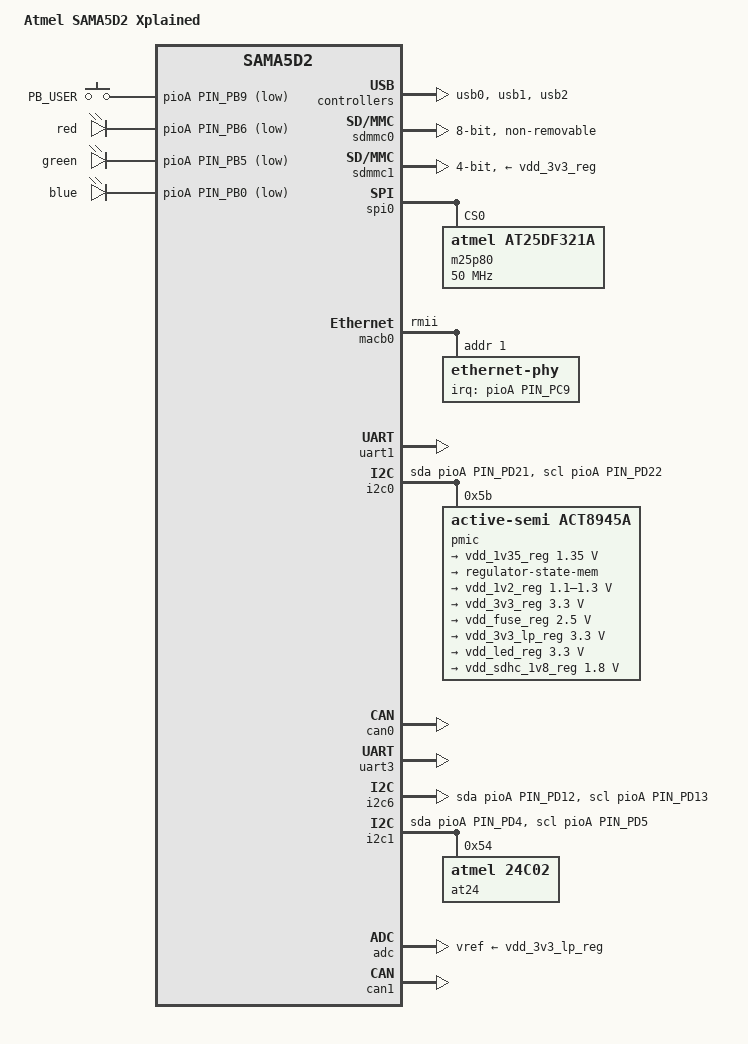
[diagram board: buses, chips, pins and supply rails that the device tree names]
// SPDX-License-Identifier: (GPL-2.0+ OR MIT)
/*
 * at91-sama5d2_xplained.dts - Device Tree file for SAMA5D2 Xplained board
 *
 *  Copyright (C) 2015 Atmel,
 *                2015 Nicolas Ferre <nicolas.ferre@atmel.com>
 */
/dts-v1/;
#include "sama5d2.dtsi"
#include "sama5d2-pinfunc.h"
#include <dt-bindings/mfd/atmel-flexcom.h>
#include <dt-bindings/gpio/gpio.h>
#include <dt-bindings/input/input.h>
#include <dt-bindings/regulator/active-semi,8945a-regulator.h>

/ {
	model = "Atmel SAMA5D2 Xplained";
	compatible = "atmel,sama5d2-xplained", "atmel,sama5d2", "atmel,sama5";

	aliases {
		serial0 = &uart1;	/* DBGU */
		i2c0 = &i2c0;
		i2c1 = &i2c1;
		i2c2 = &i2c2;		/* XPRO EXT2 */
	};

	chosen {
		stdout-path = "serial0:115200n8";
	};

	clocks {
		slow_xtal {
			clock-frequency = <32768>;
		};

		main_xtal {
			clock-frequency = <12000000>;
		};
	};

	ahb {
		usb0: gadget@300000 {
			atmel,vbus-gpio = <&pioA PIN_PA31 GPIO_ACTIVE_HIGH>;
			pinctrl-names = "default";
			pinctrl-0 = <&pinctrl_usba_vbus>;
			status = "okay";
		};

		usb1: ohci@400000 {
			num-ports = <3>;
			atmel,vbus-gpio = <0 /* &pioA PIN_PB9 GPIO_ACTIVE_HIGH */
					   &pioA PIN_PB10 GPIO_ACTIVE_HIGH
					   0
					  >;
			pinctrl-names = "default";
			pinctrl-0 = <&pinctrl_usb_default>;
			status = "okay";
		};

		usb2: ehci@500000 {
			status = "okay";
		};

		sdmmc0: sdio-host@a0000000 {
			bus-width = <8>;
			pinctrl-names = "default";
			pinctrl-0 = <&pinctrl_sdmmc0_default>;
			non-removable;
			mmc-ddr-1_8v;
			status = "okay";
		};

		sdmmc1: sdio-host@b0000000 {
			bus-width = <4>;
			pinctrl-names = "default";
			pinctrl-0 = <&pinctrl_sdmmc1_default>;
			status = "okay"; /* conflict with qspi0 */
			vqmmc-supply = <&vdd_3v3_reg>;
			vmmc-supply = <&vdd_3v3_reg>;
		};

		apb {
			qspi0: spi@f0020000 {
				pinctrl-names = "default";
				pinctrl-0 = <&pinctrl_qspi0_default>;
				status = "disabled"; /* conflict with sdmmc1 */

				flash@0 {
					#address-cells = <1>;
					#size-cells = <1>;
					compatible = "jedec,spi-nor";
					reg = <0>;
					spi-max-frequency = <80000000>;
					spi-tx-bus-width = <4>;
					spi-rx-bus-width = <4>;
					m25p,fast-read;

					at91bootstrap@00000000 {
						label = "at91bootstrap";
						reg = <0x00000000 0x00040000>;
					};

					bootloader@00040000 {
						label = "bootloader";
						reg = <0x00040000 0x000c0000>;
					};

					bootloaderenvred@00100000 {
						label = "bootloader env redundant";
						reg = <0x00100000 0x00040000>;
					};

					bootloaderenv@00140000 {
						label = "bootloader env";
						reg = <0x00140000 0x00040000>;
					};

					dtb@00180000 {
						label = "device tree";
						reg = <0x00180000 0x00080000>;
					};

					kernel@00200000 {
						label = "kernel";
						reg = <0x00200000 0x00600000>;
					};

					misc@00800000 {
						label = "misc";
						reg = <0x00800000 0x00000000>;
					};
				};
			};

			spi0: spi@f8000000 {
				pinctrl-names = "default";
				pinctrl-0 = <&pinctrl_spi0_default>;
				status = "okay";

				m25p80@0 {
					compatible = "atmel,at25df321a";
					reg = <0>;
					spi-max-frequency = <50000000>;
				};
			};

			macb0: ethernet@f8008000 {
				pinctrl-names = "default";
				pinctrl-0 = <&pinctrl_macb0_default &pinctrl_macb0_phy_irq>;
				phy-mode = "rmii";
				status = "okay";

				ethernet-phy@1 {
					reg = <0x1>;
					interrupt-parent = <&pioA>;
					interrupts = <PIN_PC9 IRQ_TYPE_LEVEL_LOW>;
				};
			};

			tcb0: timer@f800c000 {
				timer0: timer@0 {
					compatible = "atmel,tcb-timer";
					reg = <0>;
				};

				timer1: timer@1 {
					compatible = "atmel,tcb-timer";
					reg = <1>;
				};
			};

			uart1: serial@f8020000 {
				pinctrl-names = "default";
				pinctrl-0 = <&pinctrl_uart1_default>;
				atmel,use-dma-rx;
				atmel,use-dma-tx;
				status = "okay";
			};

			i2c0: i2c@f8028000 {
				dmas = <0>, <0>;
				pinctrl-names = "default", "gpio";
				pinctrl-0 = <&pinctrl_i2c0_default>;
				pinctrl-1 = <&pinctrl_i2c0_gpio>;
				sda-gpios = <&pioA PIN_PD21 GPIO_ACTIVE_HIGH>;
				scl-gpios = <&pioA PIN_PD22 (GPIO_ACTIVE_HIGH | GPIO_OPEN_DRAIN)>;
				i2c-sda-hold-time-ns = <350>;
				status = "okay";

				pmic@5b {
					compatible = "active-semi,act8945a";
					reg = <0x5b>;
					active-semi,vsel-high;
					status = "okay";

					regulators {
						vdd_1v35_reg: REG_DCDC1 {
							regulator-name = "VDD_1V35";
							regulator-min-microvolt = <1350000>;
							regulator-max-microvolt = <1350000>;
							regulator-allowed-modes = <ACT8945A_REGULATOR_MODE_FIXED>,
										  <ACT8945A_REGULATOR_MODE_LOWPOWER>;
							regulator-initial-mode = <ACT8945A_REGULATOR_MODE_FIXED>;
							regulator-always-on;

							regulator-state-mem {
								regulator-on-in-suspend;
								regulator-suspend-min-microvolt=<1400000>;
								regulator-suspend-max-microvolt=<1400000>;
								regulator-changeable-in-suspend;
								regulator-mode=<ACT8945A_REGULATOR_MODE_LOWPOWER>;
							};
						};

						vdd_1v2_reg: REG_DCDC2 {
							regulator-name = "VDD_1V2";
							regulator-min-microvolt = <1100000>;
							regulator-max-microvolt = <1300000>;
							regulator-allowed-modes = <ACT8945A_REGULATOR_MODE_FIXED>,
										  <ACT8945A_REGULATOR_MODE_LOWPOWER>;
							regulator-initial-mode = <ACT8945A_REGULATOR_MODE_FIXED>;
							regulator-always-on;

							regulator-state-mem {
								regulator-off-in-suspend;
							};
						};

						vdd_3v3_reg: REG_DCDC3 {
							regulator-name = "VDD_3V3";
							regulator-min-microvolt = <3300000>;
							regulator-max-microvolt = <3300000>;
							regulator-allowed-modes = <ACT8945A_REGULATOR_MODE_FIXED>,
										  <ACT8945A_REGULATOR_MODE_LOWPOWER>;
							regulator-initial-mode = <ACT8945A_REGULATOR_MODE_FIXED>;
							regulator-always-on;

							regulator-state-mem {
								regulator-off-in-suspend;
							};
						};

						vdd_fuse_reg: REG_LDO1 {
							regulator-name = "VDD_FUSE";
							regulator-min-microvolt = <2500000>;
							regulator-max-microvolt = <2500000>;
							regulator-allowed-modes = <ACT8945A_REGULATOR_MODE_NORMAL>,
										  <ACT8945A_REGULATOR_MODE_LOWPOWER>;
							regulator-initial-mode = <ACT8945A_REGULATOR_MODE_NORMAL>;
							regulator-always-on;

							regulator-state-mem {
								regulator-off-in-suspend;
							};
						};

						vdd_3v3_lp_reg: REG_LDO2 {
							regulator-name = "VDD_3V3_LP";
							regulator-min-microvolt = <3300000>;
							regulator-max-microvolt = <3300000>;
							regulator-allowed-modes = <ACT8945A_REGULATOR_MODE_NORMAL>,
										  <ACT8945A_REGULATOR_MODE_LOWPOWER>;
							regulator-initial-mode = <ACT8945A_REGULATOR_MODE_NORMAL>;
							regulator-always-on;

							regulator-state-mem {
								regulator-off-in-suspend;
							};
						};

						vdd_led_reg: REG_LDO3 {
							regulator-name = "VDD_LED";
							regulator-min-microvolt = <3300000>;
							regulator-max-microvolt = <3300000>;
							regulator-allowed-modes = <ACT8945A_REGULATOR_MODE_NORMAL>,
										  <ACT8945A_REGULATOR_MODE_LOWPOWER>;
							regulator-initial-mode = <ACT8945A_REGULATOR_MODE_NORMAL>;
							regulator-always-on;

							regulator-state-mem {
								regulator-off-in-suspend;
							};
						};

						vdd_sdhc_1v8_reg: REG_LDO4 {
							regulator-name = "VDD_SDHC_1V8";
							regulator-min-microvolt = <1800000>;
							regulator-max-microvolt = <1800000>;
							regulator-allowed-modes = <ACT8945A_REGULATOR_MODE_NORMAL>,
										  <ACT8945A_REGULATOR_MODE_LOWPOWER>;
							regulator-initial-mode = <ACT8945A_REGULATOR_MODE_NORMAL>;
							regulator-always-on;

							regulator-state-mem {
								regulator-off-in-suspend;
							};
						};
					};

					charger {
						compatible = "active-semi,act8945a-charger";
						pinctrl-names = "default";
						pinctrl-0 = <&pinctrl_charger_chglev &pinctrl_charger_lbo &pinctrl_charger_irq>;
						interrupt-parent = <&pioA>;
						interrupts = <PIN_PB13 IRQ_TYPE_EDGE_RISING>;

						active-semi,chglev-gpios = <&pioA PIN_PA12 GPIO_ACTIVE_HIGH>;
						active-semi,lbo-gpios = <&pioA PIN_PC8 GPIO_ACTIVE_LOW>;
						active-semi,input-voltage-threshold-microvolt = <6600>;
						active-semi,precondition-timeout = <40>;
						active-semi,total-timeout = <3>;
						status = "okay";
					};
				};
			};

			pwm0: pwm@f802c000 {
				pinctrl-names = "default";
				pinctrl-0 = <&pinctrl_pwm0_pwm2_default>;
				status = "disabled"; /* conflict with leds */
			};

			flx0: flexcom@f8034000 {
				atmel,flexcom-mode = <ATMEL_FLEXCOM_MODE_USART>;
				status = "disabled"; /* conflict with ISC_D2 & ISC_D3 data pins */

				uart5: serial@200 {
					dmas = <0>, <0>;
					pinctrl-names = "default";
					pinctrl-0 = <&pinctrl_flx0_default>;
					status = "okay";
				};

				i2c2: i2c@600 {
					dmas = <0>, <0>;
					pinctrl-names = "default", "gpio";
					pinctrl-0 = <&pinctrl_flx0_default>;
					pinctrl-1 = <&pinctrl_i2c2_gpio>;
					sda-gpios = <&pioA PIN_PB28 GPIO_ACTIVE_HIGH>;
					scl-gpios = <&pioA PIN_PB29 (GPIO_ACTIVE_HIGH | GPIO_OPEN_DRAIN)>;
					i2c-sda-hold-time-ns = <350>;
					i2c-analog-filter;
					i2c-digital-filter;
					i2c-digital-filter-width-ns = <35>;
					status = "disabled"; /* conflict with ISC_D2 & ISC_D3 data pins */
				};
			};

			shdwc@f8048010 {
				atmel,shdwc-debouncer = <976>;
				atmel,wakeup-rtc-timer;

				input@0 {
					reg = <0>;
				};
			};

			watchdog@f8048040 {
				status = "okay";
			};

			i2s0: i2s@f8050000 {
				pinctrl-names = "default";
				pinctrl-0 = <&pinctrl_i2s0_default>;
				status = "disabled"; /* conflict with can0 */
			};

			can0: can@f8054000 {
				pinctrl-names = "default";
				pinctrl-0 = <&pinctrl_can0_default>;
				status = "okay";
			};

			uart3: serial@fc008000 {
				atmel,use-dma-rx;
				atmel,use-dma-tx;
				pinctrl-names = "default";
				pinctrl-0 = <&pinctrl_uart3_default>;
				status = "okay";
			};

			flx4: flexcom@fc018000 {
				atmel,flexcom-mode = <ATMEL_FLEXCOM_MODE_TWI>;
				status = "okay";

				i2c6: i2c@600 {
					dmas = <0>, <0>;
					pinctrl-names = "default", "gpio";
					pinctrl-0 = <&pinctrl_flx4_default>;
					pinctrl-1 = <&pinctrl_flx4_gpio>;
					sda-gpios = <&pioA PIN_PD12 GPIO_ACTIVE_HIGH>;
					scl-gpios = <&pioA PIN_PD13 (GPIO_ACTIVE_HIGH | GPIO_OPEN_DRAIN)>;
					i2c-analog-filter;
					i2c-digital-filter;
					i2c-digital-filter-width-ns = <35>;
					status = "okay";
				};
			};

			i2c1: i2c@fc028000 {
				dmas = <0>, <0>;
				pinctrl-names = "default", "gpio";
				pinctrl-0 = <&pinctrl_i2c1_default>;
				i2c-analog-filter;
				i2c-digital-filter;
				i2c-digital-filter-width-ns = <35>;
				pinctrl-1 = <&pinctrl_i2c1_gpio>;
				sda-gpios = <&pioA PIN_PD4 GPIO_ACTIVE_HIGH>;
				scl-gpios = <&pioA PIN_PD5 (GPIO_ACTIVE_HIGH | GPIO_OPEN_DRAIN)>;
				status = "okay";

				at24@54 {
					compatible = "atmel,24c02";
					reg = <0x54>;
					pagesize = <16>;
				};
			};

			adc: adc@fc030000 {
				vddana-supply = <&vdd_3v3_lp_reg>;
				vref-supply = <&vdd_3v3_lp_reg>;
				pinctrl-names = "default";
				pinctrl-0 = <&pinctrl_adc_default &pinctrl_adtrg_default>;
				status = "okay";
			};

			pinctrl@fc038000 {
				/*
				 * There is no real pinmux for ADC, if the pin
				 * is not requested by another peripheral then
				 * the muxing is done when channel is enabled.
				 * Requesting pins for ADC is GPIO is
				 * encouraged to prevent conflicts and to
				 * disable bias in order to be in the same
				 * state when the pin is not muxed to the adc.
				 */
				pinctrl_adc_default: adc_default {
					pinmux = <PIN_PD23__GPIO>;
					bias-disable;
				};

				pinctrl_can0_default: can0_default {
					pinmux = <PIN_PC10__CANTX0>,
						 <PIN_PC11__CANRX0>;
					bias-disable;
				};

				pinctrl_can1_default: can1_default {
					pinmux = <PIN_PC26__CANTX1>,
						 <PIN_PC27__CANRX1>;
					bias-disable;
				};

				/*
				 * The ADTRG pin can work on any edge type.
				 * In here it's being pulled up, so need to
				 * connect it to ground to get an edge e.g.
				 * Trigger can be configured on falling, rise
				 * or any edge, and the pull-up can be changed
				 * to pull-down or left floating according to
				 * needs.
				 */
				pinctrl_adtrg_default: adtrg_default {
					pinmux = <PIN_PD31__ADTRG>;
					bias-pull-up;
				};

				pinctrl_charger_chglev: charger_chglev {
					pinmux = <PIN_PA12__GPIO>;
					bias-disable;
				};

				pinctrl_charger_irq: charger_irq {
					pinmux = <PIN_PB13__GPIO>;
					bias-disable;
				};

				pinctrl_charger_lbo: charger_lbo {
					pinmux = <PIN_PC8__GPIO>;
					bias-pull-up;
				};

				pinctrl_classd_default_pfets: classd_default_pfets {
					pinmux = <PIN_PB1__CLASSD_R0>,
						 <PIN_PB3__CLASSD_R2>;
					bias-pull-up;
				};

				pinctrl_classd_default_nfets: classd_default_nfets {
					pinmux = <PIN_PB2__CLASSD_R1>,
						 <PIN_PB4__CLASSD_R3>;
					bias-pull-down;
				};

				pinctrl_flx0_default: flx0_default {
					pinmux = <PIN_PB28__FLEXCOM0_IO0>,
						 <PIN_PB29__FLEXCOM0_IO1>;
					bias-disable;
				};

				pinctrl_flx4_default: flx4_default {
					pinmux = <PIN_PD12__FLEXCOM4_IO0>,
						 <PIN_PD13__FLEXCOM4_IO1>;
					bias-disable;
				};

				pinctrl_flx4_gpio: flx4_gpio {
					pinmux = <PIN_PD12__GPIO>,
						 <PIN_PD13__GPIO>;
					bias-disable;
				};

				pinctrl_i2c0_default: i2c0_default {
					pinmux = <PIN_PD21__TWD0>,
						 <PIN_PD22__TWCK0>;
					bias-disable;
				};

				pinctrl_i2c0_gpio: i2c0_gpio {
					pinmux = <PIN_PD21__GPIO>,
						 <PIN_PD22__GPIO>;
					bias-disable;
				};

				pinctrl_i2c1_default: i2c1_default {
					pinmux = <PIN_PD4__TWD1>,
						 <PIN_PD5__TWCK1>;
					bias-disable;
				};

				pinctrl_i2c1_gpio: i2c1_gpio {
					pinmux = <PIN_PD4__GPIO>,
						 <PIN_PD5__GPIO>;
					bias-disable;
				};

				pinctrl_i2c2_gpio: i2c2_gpio {
					pinmux = <PIN_PB28__GPIO>,
						 <PIN_PB29__GPIO>;
					bias-disable;
				};

				pinctrl_i2s0_default: i2s0_default {
					pinmux = <PIN_PC1__I2SC0_CK>,
						 <PIN_PC2__I2SC0_MCK>,
						 <PIN_PC3__I2SC0_WS>,
						 <PIN_PC4__I2SC0_DI0>,
						 <PIN_PC5__I2SC0_DO0>;
					bias-disable;
				};

				pinctrl_i2s1_default: i2s1_default {
					pinmux = <PIN_PA15__I2SC1_CK>,
						 <PIN_PA14__I2SC1_MCK>,
						 <PIN_PA16__I2SC1_WS>,
						 <PIN_PA17__I2SC1_DI0>,
						 <PIN_PA18__I2SC1_DO0>;
					bias-disable;
				};

				pinctrl_key_gpio_default: key_gpio_default {
					pinmux = <PIN_PB9__GPIO>;
					bias-pull-up;
				};

				pinctrl_led_gpio_default: led_gpio_default {
					pinmux = <PIN_PB0__GPIO>,
						 <PIN_PB5__GPIO>,
						 <PIN_PB6__GPIO>;
					bias-pull-up;
				};

				pinctrl_macb0_default: macb0_default {
					pinmux = <PIN_PB14__GTXCK>,
						 <PIN_PB15__GTXEN>,
						 <PIN_PB16__GRXDV>,
						 <PIN_PB17__GRXER>,
						 <PIN_PB18__GRX0>,
						 <PIN_PB19__GRX1>,
						 <PIN_PB20__GTX0>,
						 <PIN_PB21__GTX1>,
						 <PIN_PB22__GMDC>,
						 <PIN_PB23__GMDIO>;
					bias-disable;
				};

				pinctrl_macb0_phy_irq: macb0_phy_irq {
					pinmux = <PIN_PC9__GPIO>;
					bias-disable;
				};

				pinctrl_qspi0_default: qspi0_default {
					sck_cs {
						pinmux = <PIN_PA22__QSPI0_SCK>,
							 <PIN_PA23__QSPI0_CS>;
						bias-disable;
					};

					data {
						pinmux = <PIN_PA24__QSPI0_IO0>,
							 <PIN_PA25__QSPI0_IO1>,
							 <PIN_PA26__QSPI0_IO2>,
							 <PIN_PA27__QSPI0_IO3>;
						bias-pull-up;
					};
				};

				pinctrl_sdmmc0_default: sdmmc0_default {
					cmd_data {
						pinmux = <PIN_PA1__SDMMC0_CMD>,
							 <PIN_PA2__SDMMC0_DAT0>,
							 <PIN_PA3__SDMMC0_DAT1>,
							 <PIN_PA4__SDMMC0_DAT2>,
							 <PIN_PA5__SDMMC0_DAT3>,
							 <PIN_PA6__SDMMC0_DAT4>,
							 <PIN_PA7__SDMMC0_DAT5>,
							 <PIN_PA8__SDMMC0_DAT6>,
							 <PIN_PA9__SDMMC0_DAT7>;
						bias-disable;
					};

					ck_cd_rstn_vddsel {
						pinmux = <PIN_PA0__SDMMC0_CK>,
							 <PIN_PA10__SDMMC0_RSTN>,
							 <PIN_PA11__SDMMC0_VDDSEL>,
							 <PIN_PA13__SDMMC0_CD>;
						bias-disable;
					};
				};

				pinctrl_sdmmc1_default: sdmmc1_default {
					cmd_data {
						pinmux = <PIN_PA28__SDMMC1_CMD>,
							 <PIN_PA18__SDMMC1_DAT0>,
							 <PIN_PA19__SDMMC1_DAT1>,
							 <PIN_PA20__SDMMC1_DAT2>,
							 <PIN_PA21__SDMMC1_DAT3>;
						bias-disable;
					};

					conf-ck_cd {
						pinmux = <PIN_PA22__SDMMC1_CK>,
							 <PIN_PA30__SDMMC1_CD>;
						bias-disable;
					};
				};

				pinctrl_spi0_default: spi0_default {
					pinmux = <PIN_PA14__SPI0_SPCK>,
						 <PIN_PA15__SPI0_MOSI>,
						 <PIN_PA16__SPI0_MISO>,
						 <PIN_PA17__SPI0_NPCS0>;
					bias-disable;
				};

				pinctrl_uart1_default: uart1_default {
					pinmux = <PIN_PD2__URXD1>,
						 <PIN_PD3__UTXD1>;
					bias-disable;
				};

				pinctrl_uart3_default: uart3_default {
					pinmux = <PIN_PB11__URXD3>,
						 <PIN_PB12__UTXD3>;
					bias-disable;
				};

				pinctrl_usb_default: usb_default {
					pinmux = <PIN_PB10__GPIO>;
					bias-disable;
				};

				pinctrl_usba_vbus: usba_vbus {
					pinmux = <PIN_PA31__GPIO>;
					bias-disable;
				};

				pinctrl_pwm0_pwm2_default: pwm0_pwm2_default {
					pinmux = <PIN_PB5__PWMH2>,
						 <PIN_PB6__PWML2>;
					bias-pull-up;
				};
			};

			classd: classd@fc048000 {
				pinctrl-names = "default";
				pinctrl-0 = <&pinctrl_classd_default_pfets &pinctrl_classd_default_nfets>;
				atmel,pwm-type = "diff";
				atmel,non-overlap-time = <10>;
				status = "okay";
			};

			i2s1: i2s@fc04c000 {
				pinctrl-names = "default";
				pinctrl-0 = <&pinctrl_i2s1_default>;
				status = "disabled"; /* conflict with spi0, sdmmc1 */
			};

			can1: can@fc050000 {
				pinctrl-names = "default";
				pinctrl-0 = <&pinctrl_can1_default>;
				status = "okay";
			};
		};
	};

	gpio_keys {
		compatible = "gpio-keys";

		pinctrl-names = "default";
		pinctrl-0 = <&pinctrl_key_gpio_default>;

		bp1 {
			label = "PB_USER";
			gpios = <&pioA PIN_PB9 GPIO_ACTIVE_LOW>;
			linux,code = <KEY_PROG1>;
			wakeup-source;
		};
	};

	leds {
		compatible = "gpio-leds";
		pinctrl-names = "default";
		pinctrl-0 = <&pinctrl_led_gpio_default>;
		status = "okay"; /* conflict with pwm0 */

		red {
			label = "red";
			gpios = <&pioA PIN_PB6 GPIO_ACTIVE_LOW>;
		};


		green {
			label = "green";
			gpios = <&pioA PIN_PB5 GPIO_ACTIVE_LOW>;
		};

		blue {
			label = "blue";
			gpios = <&pioA PIN_PB0 GPIO_ACTIVE_LOW>;
			linux,default-trigger = "heartbeat";
		};
	};
};
